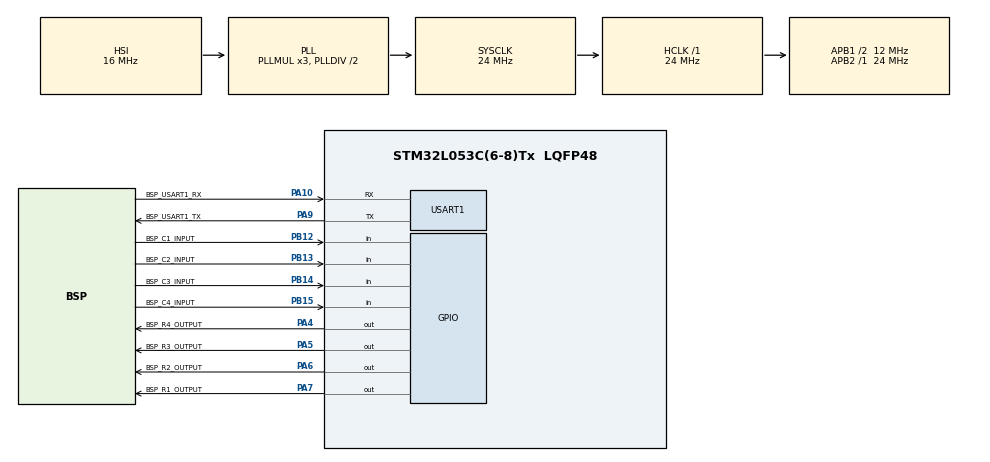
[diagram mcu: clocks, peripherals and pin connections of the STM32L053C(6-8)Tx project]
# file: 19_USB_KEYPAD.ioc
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Mcu.Family=STM32L0
Mcu.Name=STM32L053C(6-8)Tx
Mcu.Package=LQFP48
PA10.GPIO_Label=BSP_USART1_RX
PA10.Mode=Asynchronous
PA10.Signal=USART1_RX
PA13.Mode=Serial_Wire
PA13.Signal=SYS_SWDIO
PA14.Mode=Serial_Wire
PA14.Signal=SYS_SWCLK
PA4.GPIO_Label=BSP_R4_OUTPUT
PA4.Signal=GPIO_Output
PA5.GPIO_Label=BSP_R3_OUTPUT
PA5.Signal=GPIO_Output
PA6.GPIO_Label=BSP_R2_OUTPUT
PA6.Signal=GPIO_Output
PA7.GPIO_Label=BSP_R1_OUTPUT
PA7.Signal=GPIO_Output
PA9.GPIO_Label=BSP_USART1_TX
PA9.Mode=Asynchronous
PA9.Signal=USART1_TX
PB12.GPIO_Label=BSP_C1_INPUT
PB12.GPIO_PuPd=GPIO_PULLDOWN
PB12.Signal=GPIO_Input
PB13.GPIO_Label=BSP_C2_INPUT
PB13.GPIO_PuPd=GPIO_PULLDOWN
PB13.Signal=GPIO_Input
PB14.GPIO_Label=BSP_C3_INPUT
PB14.GPIO_PuPd=GPIO_PULLDOWN
PB14.Signal=GPIO_Input
PB15.GPIO_Label=BSP_C4_INPUT
PB15.GPIO_PuPd=GPIO_PULLDOWN
PB15.Signal=GPIO_Input
ProjectManager.HeapSize=0x200
ProjectManager.StackSize=0x400
ProjectManager.TargetToolchain=STM32CubeIDE
RCC.AHBFreq_Value=24000000
RCC.APB1CLKDivider=RCC_HCLK_DIV2
RCC.APB1Freq_Value=12000000
RCC.APB1TimFreq_Value=24000000
RCC.APB2Freq_Value=24000000
RCC.APB2TimFreq_Value=24000000
RCC.HCLKFreq_Value=24000000
RCC.HSE_VALUE=8000000
RCC.HSI16_VALUE=16000000
RCC.HSI48MClockSelection=RCC_USBCLKSOURCE_HSI48
RCC.HSI48_VALUE=48000000
RCC.HSI_VALUE=16000000
RCC.LSE_VALUE=32768
RCC.MSI_VALUE=2097000
RCC.RTCClockSelectionVirtual=RCC_RTCCLKSOURCE_LSE
RCC.SYSCLKFreq_VALUE=24000000
RCC.SYSCLKSource=RCC_SYSCLKSOURCE_PLLCLK
RCC.VCOOutputFreq_Value=48000000
USART1.VirtualMode-Asynchronous=VM_ASYNC
board=STM32L0538-DISCO

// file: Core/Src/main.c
/* USER CODE BEGIN Header */
/**
 ******************************************************************************
 * @file           : main.c
 * @brief          : Main program body
 ******************************************************************************
 * @attention
 *
 * Copyright (c) 2024 STMicroelectronics.
 * All rights reserved.
 *
 * This software is licensed under terms that can be found in the LICENSE file
 * in the root directory of this software component.
 * If no LICENSE file comes with this software, it is provided AS-IS.
 *
 ******************************************************************************
 */
/* USER CODE END Header */
#include "main.h"

/* USER CODE BEGIN Includes */
#include<stdio.h>
/* USER CODE END Includes */

/* USER CODE BEGIN PD */

#define R1_PORT GPIOA
#define R1_PIN GPIO_PIN_7

#define R2_PORT GPIOA
#define R2_PIN GPIO_PIN_6

#define R3_PORT GPIOA
#define R3_PIN GPIO_PIN_5

#define R4_PORT GPIOA
#define R4_PIN GPIO_PIN_4

#define C1_PORT GPIOB
#define C1_PIN GPIO_PIN_12

#define C2_PORT GPIOB
#define C2_PIN GPIO_PIN_13

#define C3_PORT GPIOB
#define C3_PIN GPIO_PIN_14

#define C4_PORT GPIOB
#define C4_PIN GPIO_PIN_15

/* USER CODE END PD */

UART_HandleTypeDef huart1;

/* USER CODE BEGIN PV */
char key;
char x;
volatile int pinstatus1;
volatile int pinstatus2;
volatile int pinstatus3;
volatile int pinstatus4;
/* USER CODE END PV */

void SystemClock_Config(void);
static void MX_GPIO_Init(void);
static void MX_USART1_UART_Init(void);

/* USER CODE BEGIN 0 */
void GPIO_Initialize(void) {
	HAL_GPIO_WritePin(R1_PORT, R1_PIN, GPIO_PIN_RESET);
		HAL_GPIO_WritePin(R2_PORT, R2_PIN, GPIO_PIN_RESET);
		HAL_GPIO_WritePin(R3_PORT, R3_PIN, GPIO_PIN_RESET);
		HAL_GPIO_WritePin(R4_PORT, R4_PIN, GPIO_PIN_RESET);
}

char read_keypad(void)
{

	pinstatus1 = (HAL_GPIO_ReadPin(C1_PORT, C1_PIN));
	printf("pinstatus1 = %d\r\n",pinstatus1);

	pinstatus2 = (HAL_GPIO_ReadPin(C2_PORT, C2_PIN));
	printf("pinstatus2 = %d\r\n",pinstatus2);

	pinstatus3 = (HAL_GPIO_ReadPin(C3_PORT, C3_PIN));
	printf("pinstatus3 = %d\r\n",pinstatus3);

	pinstatus4 = (HAL_GPIO_ReadPin(C4_PORT, C4_PIN));
	printf("pinstatus4 = %d\r\n",pinstatus4);

	key = 'X'; // Default return value if no key is pressed
	/* make Row 1 LOW and other Row as HIGH*/

	HAL_GPIO_WritePin(R1_PORT, R1_PIN, GPIO_PIN_SET);		// pull the R1 LOW
	HAL_GPIO_WritePin(R2_PORT, R2_PIN, GPIO_PIN_RESET);		// pull the R2 HIGH
	HAL_GPIO_WritePin(R3_PORT, R3_PIN, GPIO_PIN_RESET);		// pull the R3 HIGH
	HAL_GPIO_WritePin(R4_PORT, R4_PIN, GPIO_PIN_RESET);		// pull the R4 HIGH

//	HAL_Delay(200);

	if ((HAL_GPIO_ReadPin(C1_PORT, C1_PIN)) == GPIO_PIN_SET)  // if Col 1 is low
	{
		while ((HAL_GPIO_ReadPin(C1_PORT, C1_PIN)) == GPIO_PIN_SET)// wait till button is pressed
			return '1';
	}

	else if ((HAL_GPIO_ReadPin(C2_PORT, C2_PIN)) == GPIO_PIN_SET)  // if Col 2 is low
	{
		while ((HAL_GPIO_ReadPin(C2_PORT, C2_PIN)) == GPIO_PIN_SET)// wait till button is pressed
			return '2';
	}

	else if ((HAL_GPIO_ReadPin(C3_PORT, C3_PIN)) == GPIO_PIN_SET)  // if Col 3 is low
	{
		while ((HAL_GPIO_ReadPin(C3_PORT, C3_PIN)) == GPIO_PIN_SET)// wait till button is pressed
			return '3';
	}

	else if ((HAL_GPIO_ReadPin(C4_PORT, C4_PIN)) == GPIO_PIN_SET)  // if Col 4 is low
	{
		while ((HAL_GPIO_ReadPin(C4_PORT, C4_PIN)) == GPIO_PIN_SET)// wait till button is pressed
			return 'A';
	}

	/* make Row 2 LOW and other Row as HIGH*/

	HAL_GPIO_WritePin(R1_PORT, R1_PIN, GPIO_PIN_RESET);		// pull the R1 HIGH
	HAL_GPIO_WritePin(R2_PORT, R2_PIN, GPIO_PIN_SET);		// pull the R2 LOW
	HAL_GPIO_WritePin(R3_PORT, R3_PIN, GPIO_PIN_RESET);		// pull the R3 HIGH
	HAL_GPIO_WritePin(R4_PORT, R4_PIN, GPIO_PIN_RESET);		// pull the R4 HIGH

	if ((HAL_GPIO_ReadPin(C1_PORT, C1_PIN)) == GPIO_PIN_SET)  // if Col 1 is low
	{
		while ((HAL_GPIO_ReadPin(C1_PORT, C1_PIN)) == GPIO_PIN_SET)// wait till button is pressed
			return '4';
	}

	else if ((HAL_GPIO_ReadPin(C2_PORT, C2_PIN)) == GPIO_PIN_SET)  // if Col 2 is low
	{
		while ((HAL_GPIO_ReadPin(C2_PORT, C2_PIN)) == GPIO_PIN_SET)// wait till button is pressed
			return '5';
	}

	else if ((HAL_GPIO_ReadPin(C3_PORT, C3_PIN)) == GPIO_PIN_SET)  // if Col 3 is low
	{
		while ((HAL_GPIO_ReadPin(C3_PORT, C3_PIN)) == GPIO_PIN_SET)// wait till button is pressed
			return '6';
	}

	else if ((HAL_GPIO_ReadPin(C4_PORT, C4_PIN)) == GPIO_PIN_SET)  // if Col 4 is low
	{
		while ((HAL_GPIO_ReadPin(C4_PORT, C4_PIN)) == GPIO_PIN_SET)// wait till button is pressed
			return 'B';
	}

	/* make Row 3 LOW and other Row as HIGH*/

	HAL_GPIO_WritePin(R1_PORT, R1_PIN, GPIO_PIN_RESET);		// pull the R1 HIGH
	HAL_GPIO_WritePin(R2_PORT, R2_PIN, GPIO_PIN_RESET);		// pull the R2 HIGH
	HAL_GPIO_WritePin(R3_PORT, R3_PIN, GPIO_PIN_SET);		// pull the R3 LOW
	HAL_GPIO_WritePin(R4_PORT, R4_PIN, GPIO_PIN_RESET);		// pull the R4 HIGH

	if ((HAL_GPIO_ReadPin(C1_PORT, C1_PIN)) == GPIO_PIN_SET)  // if Col 1 is low
	{
		while ((HAL_GPIO_ReadPin(C1_PORT, C1_PIN)) == GPIO_PIN_SET)// wait till button is pressed
			return '7';
	}

	else if ((HAL_GPIO_ReadPin(C2_PORT, C2_PIN)) == GPIO_PIN_SET)  // if Col 2 is low
	{
		while ((HAL_GPIO_ReadPin(C2_PORT, C2_PIN)) == GPIO_PIN_SET)// wait till button is pressed
			return '8';
	}

	else if ((HAL_GPIO_ReadPin(C3_PORT, C3_PIN)) == GPIO_PIN_SET)  // if Col 3 is low
	{
		while ((HAL_GPIO_ReadPin(C3_PORT, C3_PIN)) == GPIO_PIN_SET)// wait till button is pressed
			return '9';
	}

	else if ((HAL_GPIO_ReadPin(C4_PORT, C4_PIN)) == GPIO_PIN_SET)  // if Col 4 is low
	{
		while ((HAL_GPIO_ReadPin(C4_PORT, C4_PIN)) == GPIO_PIN_SET)// wait till button is pressed
			return 'C';
	}

	/* make Row 4 LOW and other Row as HIGH*/

	HAL_GPIO_WritePin(R1_PORT, R1_PIN, GPIO_PIN_RESET);		// pull the R1 HIGH
	HAL_GPIO_WritePin(R2_PORT, R2_PIN, GPIO_PIN_RESET);		// pull the R2 HIGH
	HAL_GPIO_WritePin(R3_PORT, R3_PIN, GPIO_PIN_RESET);		// pull the R3 HIGH
	HAL_GPIO_WritePin(R4_PORT, R4_PIN, GPIO_PIN_SET);		// pull the R4 LOW

	if ((HAL_GPIO_ReadPin(C1_PORT, C1_PIN)) == GPIO_PIN_SET)  // if Col 1 is low
	{
		while ((HAL_GPIO_ReadPin(C1_PORT, C1_PIN)) == GPIO_PIN_SET)// wait till button is pressed
			return '*';
	}

	else if ((HAL_GPIO_ReadPin(C2_PORT, C2_PIN)) == GPIO_PIN_SET)  // if Col 2 is low
	{
		while ((HAL_GPIO_ReadPin(C2_PORT, C2_PIN)) == GPIO_PIN_SET)// wait till button is pressed
			return '0';
	}

	else if ((HAL_GPIO_ReadPin(C3_PORT, C3_PIN)) == GPIO_PIN_SET)  // if Col 3 is low
	{
		while ((HAL_GPIO_ReadPin(C3_PORT, C3_PIN)) == GPIO_PIN_SET)// wait till button is pressed
			return '#';
	}

	else if((HAL_GPIO_ReadPin(C4_PORT, C4_PIN)) == GPIO_PIN_SET)  // if Col 4 is low
	{
		while ((HAL_GPIO_ReadPin(C4_PORT, C4_PIN)) == GPIO_PIN_SET)// wait till button is pressed
			return 'D';
	}
	 return 'X';
}
/* USER CODE END 0 */

int main(void)
{

  /* MCU Configuration--------------------------------------------------------*/

  /* Reset of all peripherals, Initializes the Flash interface and the Systick. */
  HAL_Init();

  /* Configure the system clock */
  SystemClock_Config();

  /* Initialize all configured peripherals */
  MX_GPIO_Init();
  MX_USART1_UART_Init();
  /* USER CODE BEGIN 2 */
  GPIO_Initialize();
  /* USER CODE END 2 */

  /* Infinite loop */
	while (1) {

    /* USER CODE BEGIN 3 */

		key = read_keypad();

		switch(key)
		{
		case '1' :
		    printf("KEY : %c\r\n", key);
		    break;
		case '2' :
		    printf("KEY : %c\r\n", key);
		    break;
		case '3' :
		    printf("KEY : %c\r\n", key);
		    break;
		case 'A' :
		    printf("KEY : %c\r\n", key);
		    break;
		case '4' :
		    printf("KEY : %c\r\n", key);
		    break;
		case '5' :
		    printf("KEY : %c\r\n", key);
		    break;
		case '6' :
		    printf("KEY : %c\r\n", key);
		    break;
		case 'B' :
		    printf("KEY : %c\r\n", key);
		    break;
		case '7' :
		    printf("KEY : %c\r\n", key);
		    break;
		case '8' :
		    printf("KEY : %c\r\n", key);
		    break;
		case '9' :
		    printf("KEY : %c\r\n", key);
		    break;
		case 'C' :
		    printf("KEY : %c\r\n", key);
		    break;
		case '*' :
		    printf("KEY : %c\r\n", key);
		    break;
		case '0' :
		    printf("KEY : %c\r\n", key);
		    break;
		case '#' :
		    printf("KEY : %c\r\n", key);
		    break;
		case 'D' :
		    printf("KEY : %c\r\n", key);
		    break;
//		default:
//			printf("INVALID KEY \r\n");
		}
		HAL_Delay(500);
	}
  /* USER CODE END 3 */
}

void SystemClock_Config(void)
{
  RCC_OscInitTypeDef RCC_OscInitStruct = {0};
  RCC_ClkInitTypeDef RCC_ClkInitStruct = {0};
  RCC_PeriphCLKInitTypeDef PeriphClkInit = {0};

  /** Configure the main internal regulator output voltage
  */
  __HAL_PWR_VOLTAGESCALING_CONFIG(PWR_REGULATOR_VOLTAGE_SCALE1);

  /** Initializes the RCC Oscillators according to the specified parameters
  * in the RCC_OscInitTypeDef structure.
  */
  RCC_OscInitStruct.OscillatorType = RCC_OSCILLATORTYPE_HSI;
  RCC_OscInitStruct.HSIState = RCC_HSI_ON;
  RCC_OscInitStruct.HSICalibrationValue = RCC_HSICALIBRATION_DEFAULT;
  RCC_OscInitStruct.PLL.PLLState = RCC_PLL_ON;
  RCC_OscInitStruct.PLL.PLLSource = RCC_PLLSOURCE_HSI;
  RCC_OscInitStruct.PLL.PLLMUL = RCC_PLLMUL_3;
  RCC_OscInitStruct.PLL.PLLDIV = RCC_PLLDIV_2;
  if (HAL_RCC_OscConfig(&RCC_OscInitStruct) != HAL_OK)
  {
    Error_Handler();
  }

  /** Initializes the CPU, AHB and APB buses clocks
  */
  RCC_ClkInitStruct.ClockType = RCC_CLOCKTYPE_HCLK|RCC_CLOCKTYPE_SYSCLK
                              |RCC_CLOCKTYPE_PCLK1|RCC_CLOCKTYPE_PCLK2;
  RCC_ClkInitStruct.SYSCLKSource = RCC_SYSCLKSOURCE_PLLCLK;
  RCC_ClkInitStruct.AHBCLKDivider = RCC_SYSCLK_DIV1;
  RCC_ClkInitStruct.APB1CLKDivider = RCC_HCLK_DIV2;
  RCC_ClkInitStruct.APB2CLKDivider = RCC_HCLK_DIV1;

  if (HAL_RCC_ClockConfig(&RCC_ClkInitStruct, FLASH_LATENCY_1) != HAL_OK)
  {
    Error_Handler();
  }
  PeriphClkInit.PeriphClockSelection = RCC_PERIPHCLK_USART1;
  PeriphClkInit.Usart1ClockSelection = RCC_USART1CLKSOURCE_PCLK2;
  if (HAL_RCCEx_PeriphCLKConfig(&PeriphClkInit) != HAL_OK)
  {
    Error_Handler();
  }
}

static void MX_USART1_UART_Init(void)
{

  huart1.Instance = USART1;
  huart1.Init.BaudRate = 115200;
  huart1.Init.WordLength = UART_WORDLENGTH_8B;
  huart1.Init.StopBits = UART_STOPBITS_1;
  huart1.Init.Parity = UART_PARITY_NONE;
  huart1.Init.Mode = UART_MODE_TX_RX;
  huart1.Init.HwFlowCtl = UART_HWCONTROL_NONE;
  huart1.Init.OverSampling = UART_OVERSAMPLING_16;
  huart1.Init.OneBitSampling = UART_ONE_BIT_SAMPLE_DISABLE;
  huart1.AdvancedInit.AdvFeatureInit = UART_ADVFEATURE_NO_INIT;
  if (HAL_UART_Init(&huart1) != HAL_OK)
  {
    Error_Handler();
  }

}

static void MX_GPIO_Init(void)
{
  GPIO_InitTypeDef GPIO_InitStruct = {0};

  /* GPIO Ports Clock Enable */
  __HAL_RCC_GPIOA_CLK_ENABLE();
  __HAL_RCC_GPIOB_CLK_ENABLE();

  /*Configure GPIO pin Output Level */
  HAL_GPIO_WritePin(GPIOA, BSP_R4_OUTPUT_Pin|BSP_R3_OUTPUT_Pin|BSP_R2_OUTPUT_Pin|BSP_R1_OUTPUT_Pin, GPIO_PIN_RESET);

  /*Configure GPIO pins : BSP_R4_OUTPUT_Pin BSP_R3_OUTPUT_Pin BSP_R2_OUTPUT_Pin BSP_R1_OUTPUT_Pin */
  GPIO_InitStruct.Pin = BSP_R4_OUTPUT_Pin|BSP_R3_OUTPUT_Pin|BSP_R2_OUTPUT_Pin|BSP_R1_OUTPUT_Pin;
  GPIO_InitStruct.Mode = GPIO_MODE_OUTPUT_PP;
  GPIO_InitStruct.Pull = GPIO_NOPULL;
  GPIO_InitStruct.Speed = GPIO_SPEED_FREQ_LOW;
  HAL_GPIO_Init(GPIOA, &GPIO_InitStruct);

  /*Configure GPIO pins : BSP_C1_INPUT_Pin BSP_C2_INPUT_Pin BSP_C3_INPUT_Pin BSP_C4_INPUT_Pin */
  GPIO_InitStruct.Pin = BSP_C1_INPUT_Pin|BSP_C2_INPUT_Pin|BSP_C3_INPUT_Pin|BSP_C4_INPUT_Pin;
  GPIO_InitStruct.Mode = GPIO_MODE_INPUT;
  GPIO_InitStruct.Pull = GPIO_PULLDOWN;
  HAL_GPIO_Init(GPIOB, &GPIO_InitStruct);

}

void Error_Handler(void)
{
	__disable_irq();
	while (1) {
	}
}
